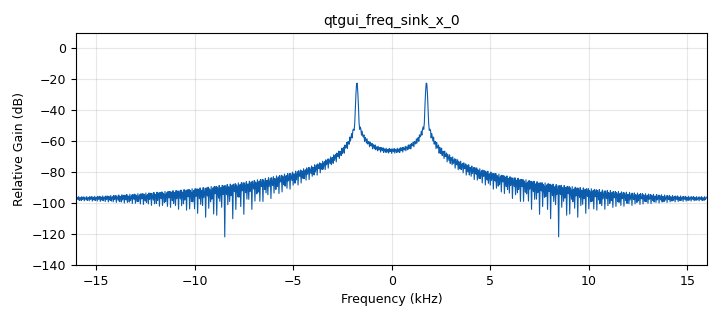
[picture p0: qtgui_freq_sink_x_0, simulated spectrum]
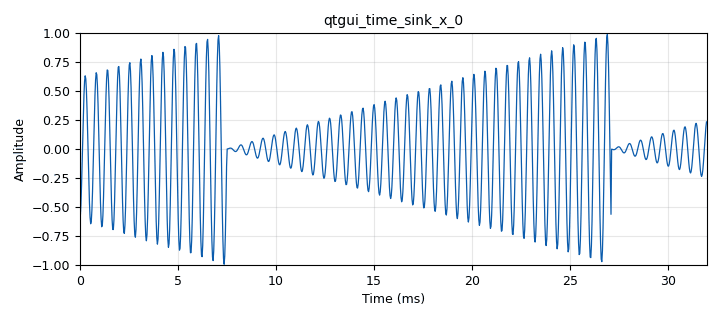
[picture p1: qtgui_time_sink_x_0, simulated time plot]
options:
  parameters:
    author: Sebastian - Esteban
    generate_options: qt_gui
    id: multiplicacion_señales
    output_language: python
    title: Multiplicacion Señales
  states: {}

blocks:
- name: samp_rate
  id: variable
  parameters:
    value: '32000'
  states: {}
- name: analog_sig_source_x_0
  id: analog_sig_source_x
  parameters:
    amp: '1'
    freq: 25+26
    offset: '0'
    phase: '0'
    samp_rate: samp_rate
    type: float
    waveform: analog.GR_SAW_WAVE
  states: {}
- name: analog_sig_source_x_1
  id: analog_sig_source_x
  parameters:
    amp: '1'
    freq: '1764'
    offset: '0'
    phase: '0'
    samp_rate: samp_rate
    type: float
    waveform: analog.GR_COS_WAVE
  states: {}
- name: blocks_multiply_xx_0
  id: blocks_multiply_xx
  parameters:
    type: float
  states: {}
- name: qtgui_freq_sink_x_0
  id: qtgui_freq_sink_x
  parameters:
    bw: samp_rate
    fc: '0'
    fftsize: '1024'
    type: float
  states: {}
- name: qtgui_time_sink_x_0
  id: qtgui_time_sink_x
  parameters:
    size: '1024'
    srate: samp_rate
    type: float
  states: {}

connections:
- [analog_sig_source_x_0, '0', blocks_multiply_xx_0, '0']
- [analog_sig_source_x_1, '0', blocks_multiply_xx_0, '1']
- [blocks_multiply_xx_0, '0', qtgui_freq_sink_x_0, '0']
- [blocks_multiply_xx_0, '0', qtgui_time_sink_x_0, '0']

metadata:
  file_format: 1
  grc_version: 3.10.2.0
